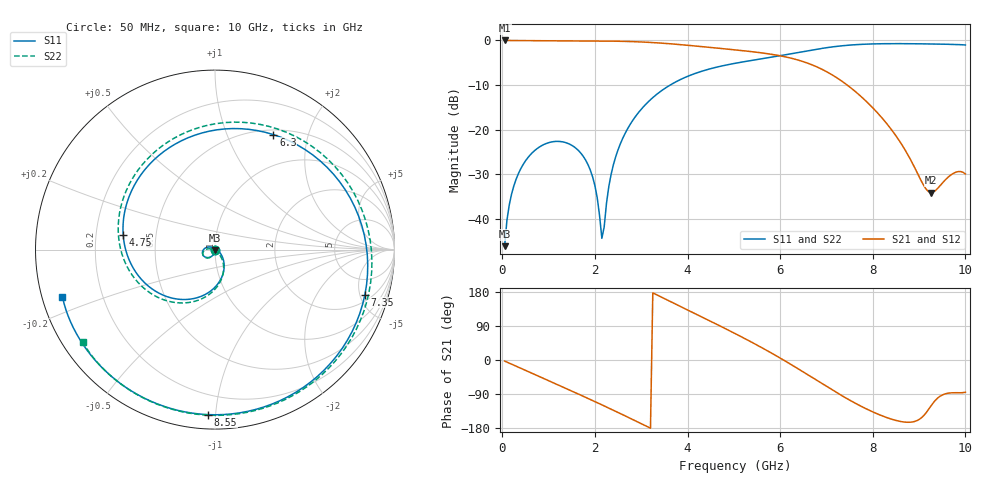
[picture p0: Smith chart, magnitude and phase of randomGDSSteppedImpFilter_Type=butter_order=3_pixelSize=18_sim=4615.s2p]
! freq	dB(S11)	phase(S11)	dB(S12)	phase(S12)
!  dB(S21)	phase(S21)	dB(S22)	phase(S22)
!S-par simulation data
#  GHz  S  DB  R 50
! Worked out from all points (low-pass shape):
!   200 points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, 50 MHz to 10 GHz, reference 50 ohm
!   highest |S21| = -0.01 dB at 50 MHz (marker M1); lowest = -34.1 dB at 9.25 GHz (marker M2)
!   |S21| within 3 dB of the highest: start of sweep to 5.746 GHz
!   lowest |S11| = -46.2 dB at 50 MHz (marker M3), VSWR 1.01, Z = 50 - j0.492 ohm
!   |S11| at or under -10 dB: start of sweep to 3.627 GHz
!   |S22| runs from -46.2 to -0.7 dB; largest |S21 - S12| = 0
!   S11 on the Smith chart (normalised r, x): 50 MHz: 1.00, -0.01; 4.75 GHz: 0.32, +0.07; 6.3 GHz: 0.56, +1.48; 7.35 GHz: 2.66, -5.57; 8.55 GHz: 0.08, -0.96; 10 GHz: 0.06, -0.15
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0.05  -46.17 -89.6  -0.01 -2.8  -0.01 -2.8  -46.17 -89.4
0.25  -32.61 -103.6  -0.02 -13.7  -0.02 -13.7  -32.61 -102.8
0.6  -25.72 -124.4  -0.05 -32.8  -0.05 -32.8  -25.72 -122.3
1.2  -22.65 -159.0  -0.10 -65.5  -0.10 -65.5  -22.66 -154.0
1.75  -26.03 167.0  -0.12 -95.8  -0.12 -95.8  -26.08 178.6
2  -32.59 145.0  -0.13 -109.8  -0.13 -109.8  -32.76 171.1
2.15  -44.41 79.0  -0.14 -118.3  -0.14 -118.3  -46.24 -138.7
2.3  -32.79 -24.5  -0.15 -126.9  -0.15 -126.9  -32.77 -48.2
2.5  -24.52 -45.3  -0.18 -138.5  -0.18 -138.5  -24.48 -52.4
3.4  -11.57 -104.5  -0.58 168.1  -0.58 168.1  -11.54 -100.5
4.1  -7.66 -148.2  -1.18 126.1  -1.18 126.1  -7.63 -140.3
4.75  -5.71 170.8  -1.83 86.9  -1.83 86.9  -5.69 -177.6
5.05  -5.09 151.4  -2.14 68.3  -2.14 68.3  -5.07 164.8
5.7  -3.95 107.1  -2.94 26.0  -2.94 26.0  -3.94 123.9
6.3  -2.87 63.1  -4.15 -16.7  -4.15 -16.7  -2.88 81.5
6.7  -2.13 32.4  -5.53 -46.8  -5.53 -46.8  -2.14 50.6
7.35  -1.19 -16.7  -9.27 -95.4  -9.27 -95.4  -1.19 -0.4
7.85  -0.84 -51.1  -13.58 -128.3  -13.58 -128.3  -0.83 -36.4
8.35  -0.73 -81.4  -19.30 -154.0  -19.30 -154.0  -0.70 -67.5
8.55  -0.72 -92.4  -22.15 -160.9  -22.15 -160.9  -0.69 -78.7
9.25  -0.79 -127.7  -34.13 -122.5  -34.13 -122.5  -0.74 -112.9
10  -1.02 -162.8  -29.97 -85.0  -29.97 -85.0  -0.92 -144.9
